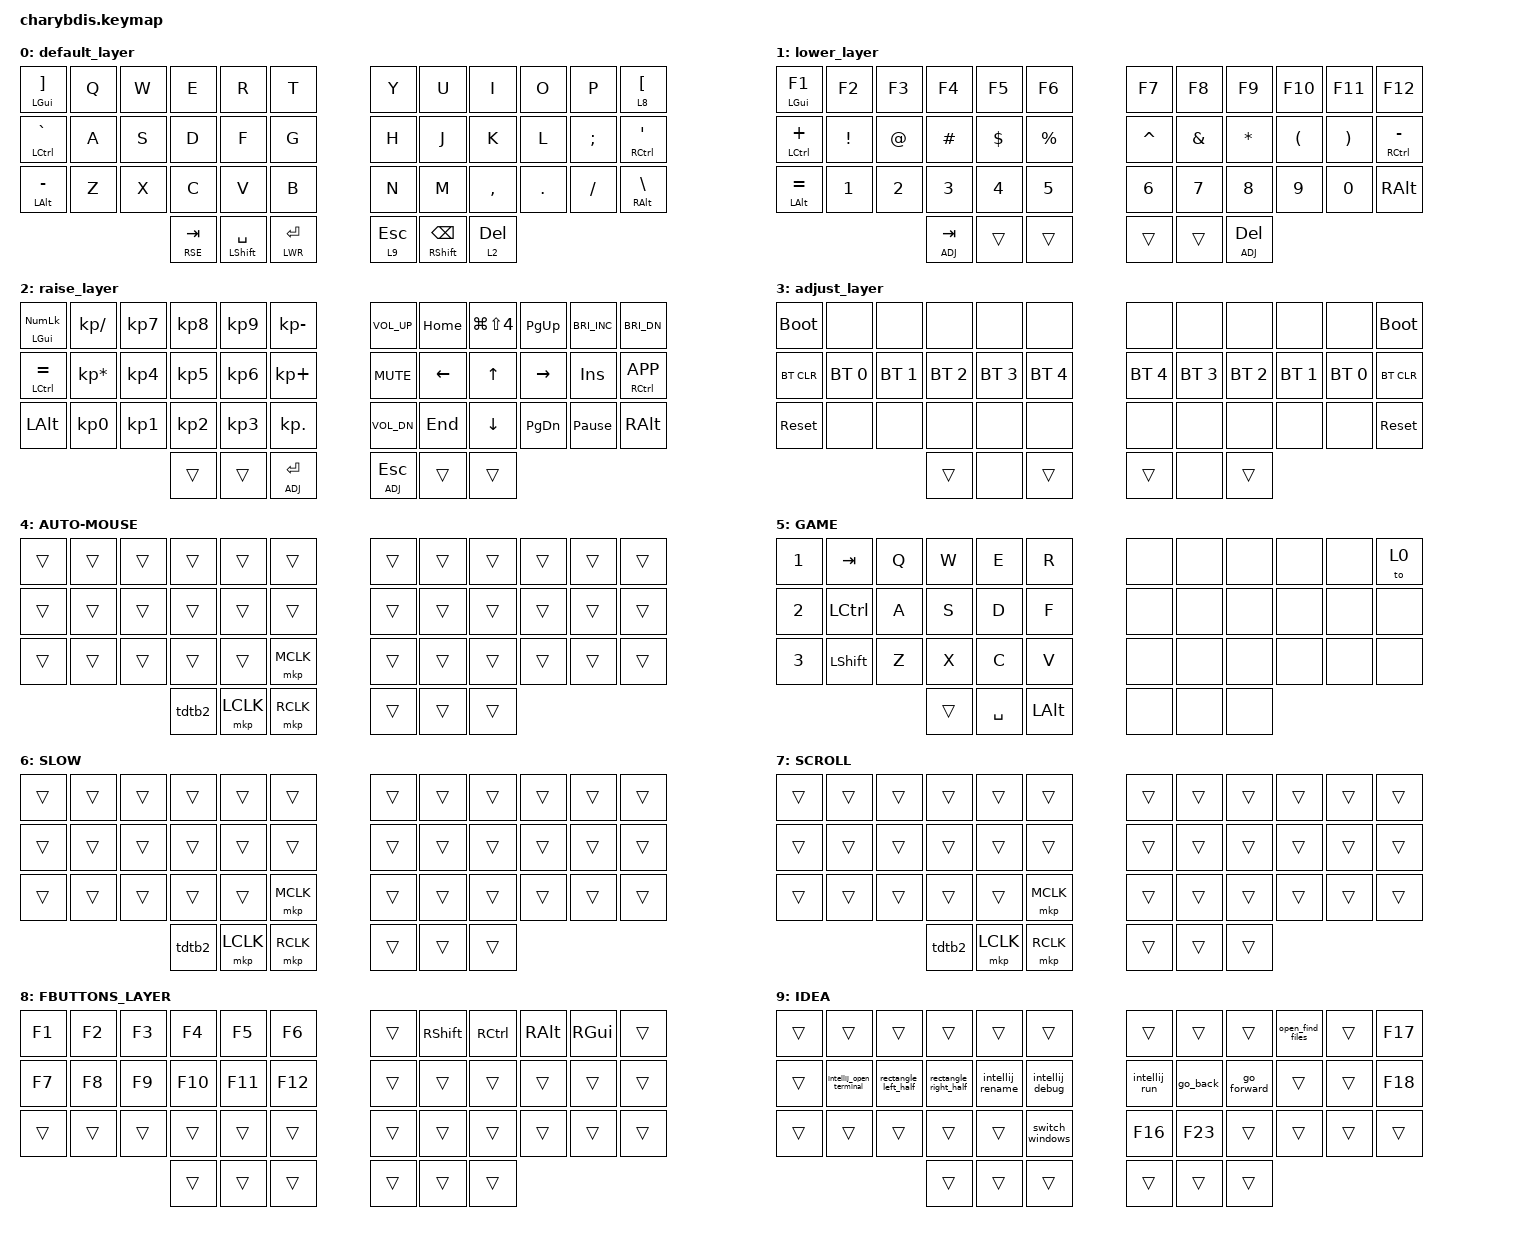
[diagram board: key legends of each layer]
#include <behaviors/mouse_keys.dtsi>
#include <dt-bindings/zmk/mouse.h>
#include <behaviors.dtsi>
#include <dt-bindings/zmk/bt.h>
#include <dt-bindings/zmk/keys.h>
#include <dt-bindings/zmk/pointing.h>

#define U_TAPPING_TERM 200
#define DEF 0
#define LWR 1
#define RSE 2
#define ADJ 3

&lt { quick_tap_ms = <200>; };

&mt { quick_tap_ms = <200>; };

/ {
    chosen { zmk,matrix_transform = &matrix_transform0 ; };
};

/ {
    macros {
        intellij_open_terminal: intellij_open_terminal {
            label = "intellj_open_terminal";
            compatible = "zmk,behavior-macro";
            #binding-cells = <0>;
            bindings =
                <&macro_press>,
                <&kp LALT>,
                <&macro_tap>,
                <&kp F12>,
                <&macro_release>,
                <&kp LALT>;
        };

        intellij_rename: intellij_rename {
            label = "intellij_rename";
            compatible = "zmk,behavior-macro";
            #binding-cells = <0>;
            bindings =
                <&macro_press>,
                <&kp LSHFT>,
                <&macro_tap>,
                <&kp F6>,
                <&macro_release>,
                <&kp LSHFT>;
        };

        intellij_debug: intellij_debug {
            label = "intellij_debug";
            compatible = "zmk,behavior-macro";
            #binding-cells = <0>;
            bindings =
                <&macro_press>,
                <&kp LCTRL &kp LSHFT>,
                <&macro_tap>,
                <&kp D>,
                <&macro_release>,
                <&kp LCTRL &kp LSHFT>;
        };

        intellij_run: intellij_run {
            label = "intellij_run";
            compatible = "zmk,behavior-macro";
            #binding-cells = <0>;
            bindings =
                <&macro_press>,
                <&kp LCTRL &kp LSHFT>,
                <&macro_tap>,
                <&kp R>,
                <&macro_release>,
                <&kp LCTRL &kp LSHFT>;
        };

        rectangle_left_half: rectangle_left_half {
            label = "rectangle_left_half";
            compatible = "zmk,behavior-macro";
            #binding-cells = <0>;
            bindings =
                <&macro_press>,
                <&kp LALT &kp LGUI>,
                <&macro_tap>,
                <&kp LEFT>,
                <&macro_release>,
                <&kp LALT &kp LGUI>;
        };

        rectangle_right_half: rectangle_right_half {
            label = "rectangle_right_half";
            compatible = "zmk,behavior-macro";
            #binding-cells = <0>;
            bindings =
                <&macro_press>,
                <&kp LALT &kp LGUI>,
                <&macro_tap>,
                <&kp RIGHT>,
                <&macro_release>,
                <&kp LALT &kp LGUI>;
        };

        go_back: go_back {
            label = "go_back";
            compatible = "zmk,behavior-macro";
            #binding-cells = <0>;
            bindings =
                <&macro_press>,
                <&kp LGUI>,
                <&macro_tap>,
                <&kp LBKT>,
                <&macro_release>,
                <&kp LGUI>;
        };

        go_forward: go_forward {
            label = "go_forward";
            compatible = "zmk,behavior-macro";
            #binding-cells = <0>;
            bindings =
                <&macro_press>,
                <&kp LGUI>,
                <&macro_tap>,
                <&kp RBKT>,
                <&macro_release>,
                <&kp LGUI>;
        };

        switch_windows: switch_windows {
            label = "switch_windows";
            compatible = "zmk,behavior-macro";
            #binding-cells = <0>;
            bindings =
                <&macro_press>,
                <&kp LGUI>,
                <&macro_tap>,
                <&kp GRAVE>,
                <&macro_release>,
                <&kp LGUI>;
        };

        open_find_files: open_find_files {
            compatible = "zmk,behavior-macro";
            #binding-cells = <0>;
            bindings = <&kp LG(LS(O))>;
            label = "OPEN_FIND_FILES";
        };
    };

    combos {
        compatible = "zmk,combos";

        ParaLeft {
            bindings = <&kp LEFT_PARENTHESIS>;
            key-positions = <4 5>;
        };

        ParaRight {
            bindings = <&kp RIGHT_PARENTHESIS>;
            key-positions = <7 6>;
        };

        BrakLeft {
            bindings = <&kp LEFT_BRACKET>;
            key-positions = <16 17>;
        };

        BrakRight {
            bindings = <&kp RIGHT_BRACKET>;
            key-positions = <18 19>;
        };

        BraceLeft {
            bindings = <&kp LEFT_BRACE>;
            key-positions = <28 29>;
        };

        BraceRight {
            bindings = <&kp RIGHT_BRACE>;
            key-positions = <30 31>;
        };

        CapsWord {
            bindings = <&caps_word>;
            key-positions = <17 18>;
        };

        GAME_MODE {
            bindings = <&to 5>;
            key-positions = <24 12 0>;
        };

        RightClickLeft {
            bindings = <&mkp RCLK>;
            key-positions = <14 15>;
        };

        RightClickRight {
            bindings = <&mkp RCLK>;
            key-positions = <20 21>;
        };

        LeftClickLeft {
            bindings = <&mkp LCLK>;
            key-positions = <16 15>;
        };

        LeftClickRight {
            bindings = <&mkp LCLK>;
            key-positions = <19 20>;
        };

        MiddleClickLeft {
            bindings = <&mkp MCLK>;
            key-positions = <13 14>;
        };

        MiddleClickRight {
            bindings = <&mkp MCLK>;
            key-positions = <21 22>;
        };

        DoubleQuote {
            bindings = <&kp DOUBLE_QUOTES>;
            key-positions = <15 16>;
        };

        SingleQuote {
            bindings = <&kp SINGLE_QUOTE>;
            key-positions = <19 20>;
        };

        TildaSign {
            bindings = <&kp TILDE>;
            key-positions = <0 12>;
        };

        GraveSign {
            bindings = <&kp GRAVE>;
            key-positions = <12 24>;
        };

        MinusSign {
            bindings = <&kp MINUS>;
            key-positions = <3 4>;
        };

        PlusSign {
            bindings = <&kp PLUS>;
            key-positions = <2 3>;
        };

        UnderscoreSign {
            bindings = <&kp UNDERSCORE>;
            key-positions = <7 8>;
        };

        PipeSign {
            bindings = <&kp PIPE>;
            key-positions = <9 8>;
        };
    };

    behaviors {
        u_mt: u_mt {
            compatible = "zmk,behavior-hold-tap";
            label = "u_mt";
            #binding-cells = <2>;
            tapping_term_ms = <U_TAPPING_TERM>;
            flavor = "tap-preferred";
            bindings = <&kp>, <&kp>;
        };

        u_lt: u_lt {
            compatible = "zmk,behavior-hold-tap";
            label = "u_lt";
            #binding-cells = <2>;
            tapping_term_ms = <U_TAPPING_TERM>;
            flavor = "tap-preferred";
            bindings = <&mo>, <&kp>;
        };

        Shift_Enter: Shift_Enter {
            compatible = "zmk,behavior-hold-tap";
            label = "SHIFT_ENTER";
            bindings = <&kp>, <&kp>;

            #binding-cells = <2>;
            hold-trigger-key-positions = <40>;
            tapping-term-ms = <100>;
        };

        httl: ht_two_layers {
            compatible = "zmk,behavior-hold-tap";
            bindings = <&mo>, <&to>;

            #binding-cells = <2>;
            flavor = "balanced";
            tapping-term-ms = <200>;
        };

        tdtb: td_mouse_scroll {
            compatible = "zmk,behavior-tap-dance";
            #binding-cells = <0>;
            bindings = <&httl 7 4>, <&to 0>;

            tapping-term-ms = <200>;
        };

        tdtb2: td_slow_scroll {
            compatible = "zmk,behavior-tap-dance";
            #binding-cells = <0>;
            bindings = <&httl 7 0>, <&to 6>;
        };
    };

    keymap {
        compatible = "zmk,keymap";

        default_layer {
            bindings = <
&mt LGUI RBKT    &kp Q  &kp W  &kp E        &kp R            &kp T          &kp Y      &kp U           &kp I      &kp O    &kp P     &lt 8 LBKT
&mt LCTRL GRAVE  &kp A  &kp S  &kp D        &kp F            &kp G          &kp H      &kp J           &kp K      &kp L    &kp SEMI  &mt RCTRL SQT
&mt LALT MINUS   &kp Z  &kp X  &kp C        &kp V            &kp B          &kp N      &kp M           &kp COMMA  &kp DOT  &kp FSLH  &mt RALT BSLH
                               &lt RSE TAB  &mt LSHFT SPACE  &lt LWR RET    &lt 9 ESC  &mt RSHFT BSPC  &lt 2 DEL
            >;
        };

        lower_layer {
            bindings = <
&mt LGUI F1     &kp F2    &kp F3  &kp F4       &kp F5    &kp F6       &kp F7     &kp F8    &kp F9       &kp F10   &kp F11   &kp F12
&mt LCTRL PLUS  &kp EXCL  &kp AT  &kp HASH     &kp DLLR  &kp PRCNT    &kp CARET  &kp AMPS  &kp STAR     &kp LPAR  &kp RPAR  &mt RCTRL MINUS
&mt LALT EQUAL  &kp N1    &kp N2  &kp N3       &kp N4    &kp N5       &kp N6     &kp N7    &kp N8       &kp N9    &kp N0    &kp RALT
                                  &lt ADJ TAB  &trans    &trans       &trans     &trans    &lt ADJ DEL
            >;
        };

        raise_layer {
            bindings = <
&mt LGUI KP_NUM  &kp KP_SLASH     &kp KP_N7  &kp KP_N8  &kp KP_N9  &kp KP_MINUS    &kp C_VOL_UP  &kp HOME  &kp LG(LS(NUMBER_4))  &kp PG_UP  &kp C_BRI_INC    &kp C_BRI_DN
&mt LCTRL EQUAL  &kp KP_MULTIPLY  &kp KP_N4  &kp KP_N5  &kp KP_N6  &kp KP_PLUS     &kp C_MUTE    &kp LEFT  &kp UP                &kp RIGHT  &kp INS          &mt RCTRL K_APP
&kp LALT         &kp KP_N0        &kp KP_N1  &kp KP_N2  &kp KP_N3  &kp KP_DOT      &kp C_VOL_DN  &kp END   &kp DOWN              &kp PG_DN  &kp PAUSE_BREAK  &kp RALT
                                             &trans     &trans     &lt ADJ RET     &lt ADJ ESC   &trans    &trans
            >;
        };

        adjust_layer {
            bindings = <
&bootloader  &none         &none         &none         &none         &none           &none         &none         &none         &none         &none         &bootloader
&bt BT_CLR   &bt BT_SEL 0  &bt BT_SEL 1  &bt BT_SEL 2  &bt BT_SEL 3  &bt BT_SEL 4    &bt BT_SEL 4  &bt BT_SEL 3  &bt BT_SEL 2  &bt BT_SEL 1  &bt BT_SEL 0  &bt BT_CLR
&sys_reset   &none         &none         &none         &none         &none           &none         &none         &none         &none         &none         &sys_reset
                                         &trans        &none         &trans          &trans        &none         &trans
            >;
        };

        AUTO-MOUSE {
            bindings = <
&trans  &trans  &trans  &trans  &trans     &trans       &trans  &trans  &trans  &trans  &trans  &trans
&trans  &trans  &trans  &trans  &trans     &trans       &trans  &trans  &trans  &trans  &trans  &trans
&trans  &trans  &trans  &trans  &trans     &mkp MCLK    &trans  &trans  &trans  &trans  &trans  &trans
                        &tdtb2  &mkp LCLK  &mkp RCLK    &trans  &trans  &trans
            >;
        };

        GAME {
            bindings = <
&kp N1  &kp TAB    &kp Q  &kp W   &kp E      &kp R           &none  &none  &none  &none  &none  &to 0
&kp N2  &kp LCTRL  &kp A  &kp S   &kp D      &kp F           &none  &none  &none  &none  &none  &none
&kp N3  &kp LSHFT  &kp Z  &kp X   &kp C      &kp V           &none  &none  &none  &none  &none  &none
                          &trans  &kp SPACE  &kp LEFT_ALT    &none  &none  &none
            >;
        };

        SLOW {
            bindings = <
&trans  &trans  &trans  &trans  &trans     &trans       &trans  &trans  &trans  &trans  &trans  &trans
&trans  &trans  &trans  &trans  &trans     &trans       &trans  &trans  &trans  &trans  &trans  &trans
&trans  &trans  &trans  &trans  &trans     &mkp MCLK    &trans  &trans  &trans  &trans  &trans  &trans
                        &tdtb2  &mkp LCLK  &mkp RCLK    &trans  &trans  &trans
            >;
        };

        SCROLL {
            bindings = <
&trans  &trans  &trans  &trans  &trans     &trans       &trans  &trans  &trans  &trans  &trans  &trans
&trans  &trans  &trans  &trans  &trans     &trans       &trans  &trans  &trans  &trans  &trans  &trans
&trans  &trans  &trans  &trans  &trans     &mkp MCLK    &trans  &trans  &trans  &trans  &trans  &trans
                        &tdtb2  &mkp LCLK  &mkp RCLK    &trans  &trans  &trans
            >;
        };

        FBUTTONS_LAYER {
            bindings = <
&kp F1  &kp F2  &kp F3  &kp F4   &kp F5   &kp F6     &trans  &kp RIGHT_SHIFT  &kp RCTRL  &kp RALT  &kp RGUI  &trans
&kp F7  &kp F8  &kp F9  &kp F10  &kp F11  &kp F12    &trans  &trans           &trans     &trans    &trans    &trans
&trans  &trans  &trans  &trans   &trans   &trans     &trans  &trans           &trans     &trans    &trans    &trans
                        &trans   &trans   &trans     &trans  &trans           &trans
            >;
        };

        IDEA {
            bindings = <
&trans  &trans                   &trans                &trans                 &trans            &trans             &trans         &trans    &trans       &open_find_files  &trans  &kp F17
&trans  &intellij_open_terminal  &rectangle_left_half  &rectangle_right_half  &intellij_rename  &intellij_debug    &intellij_run  &go_back  &go_forward  &trans            &trans  &kp F18
&trans  &trans                   &trans                &trans                 &trans            &switch_windows    &kp F16        &kp F23   &trans       &trans            &trans  &trans
                                                       &trans                 &trans            &trans             &trans         &trans    &trans
            >;
        };
    };
};
